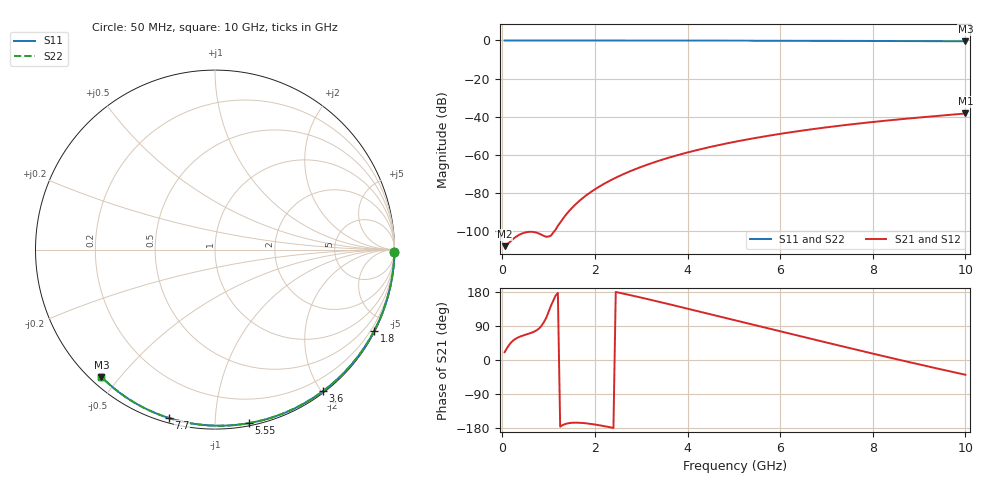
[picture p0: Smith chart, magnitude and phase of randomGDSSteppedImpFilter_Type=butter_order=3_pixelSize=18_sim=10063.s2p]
! freq	dB(S11)	phase(S11)	dB(S12)	phase(S12)
!  dB(S21)	phase(S21)	dB(S22)	phase(S22)
!S-par simulation data
#  GHz  S  DB  R 50
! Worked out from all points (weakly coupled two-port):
!   200 points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, 50 MHz to 10 GHz, reference 50 ohm
!   highest |S21| = -38.34 dB at 10 GHz (marker M1); lowest = -108.0 dB at 50 MHz (marker M2)
!   lowest |S11| = -0.4 dB at 10 GHz (marker M3), VSWR 39.21, Z = 1.53 - j22.4 ohm
!   |S11| at or under -10 dB: nowhere
!   |S22| runs from -0.4 to 0.0 dB; largest |S21 - S12| = 0
!   S11 on the Smith chart (normalised r, x): 50 MHz: open; 1.8 GHz: 0.04, -4.17; 3.6 GHz: 0.02, -2.01; 5.55 GHz: 0.02, -1.22; 7.7 GHz: 0.02, -0.76; 10 GHz: 0.03, -0.45
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0.05  -0.00 -0.8  -107.98 20.5  -107.98 20.5  -0.00 -0.8
0.45  -0.01 -6.8  -101.11 64.7  -101.11 64.7  -0.01 -6.8
0.9  -0.02 -13.6  -102.60 100.4  -102.60 100.4  -0.02 -13.6
1.75  -0.03 -26.3  -82.48 -166.4  -82.48 -166.4  -0.03 -26.3
1.8  -0.03 -27.0  -81.53 -167.0  -81.53 -167.0  -0.03 -27.0
1.9  -0.04 -28.5  -79.77 -168.5  -79.77 -168.5  -0.04 -28.5
2.05  -0.04 -30.7  -77.37 -171.3  -77.37 -171.3  -0.04 -30.7
2.25  -0.04 -33.6  -74.54 -175.7  -74.54 -175.7  -0.04 -33.6
2.45  -0.05 -36.5  -72.04 179.5  -72.04 179.5  -0.05 -36.5
2.65  -0.05 -39.4  -69.79 174.2  -69.79 174.2  -0.05 -39.4
3  -0.06 -44.4  -66.35 164.6  -66.35 164.6  -0.06 -44.4
3.4  -0.07 -50.0  -62.99 153.1  -62.99 153.1  -0.07 -50.0
3.6  -0.07 -52.8  -61.49 147.3  -61.49 147.3  -0.07 -52.8
4.3  -0.09 -62.4  -56.97 126.5  -56.97 126.5  -0.09 -62.4
5.05  -0.11 -72.4  -53.05 104.1  -53.05 104.1  -0.11 -72.4
5.55  -0.13 -78.8  -50.83 89.2  -50.83 89.2  -0.13 -78.9
6.1  -0.15 -85.8  -48.65 72.8  -48.65 72.8  -0.15 -85.8
6.7  -0.18 -93.3  -46.55 55.0  -46.55 55.0  -0.18 -93.3
7.7  -0.24 -105.3  -43.58 25.6  -43.58 25.6  -0.24 -105.3
8.35  -0.29 -112.9  -41.93 6.8  -41.93 6.8  -0.29 -112.9
9.15  -0.36 -122.1  -40.13 -15.8  -40.13 -15.8  -0.36 -122.1
10  -0.44 -131.7  -38.34 -39.0  -38.34 -39.0  -0.44 -131.7
